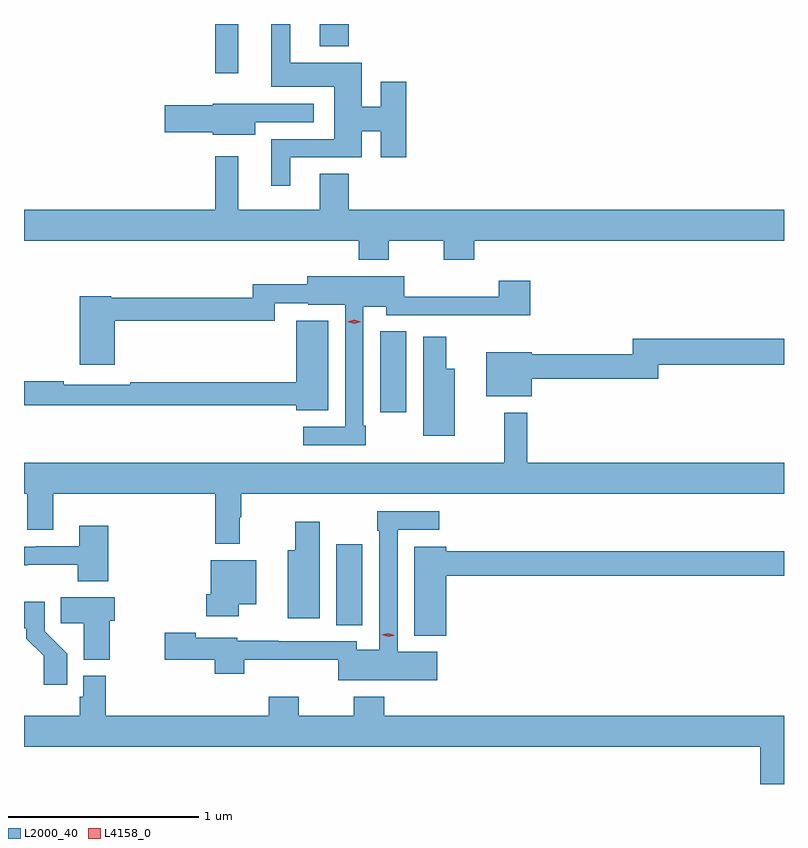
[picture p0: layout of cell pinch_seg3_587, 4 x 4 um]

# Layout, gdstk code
import gdstk
lib = gdstk.Library(unit=1e-6, precision=1e-09)
def R(c, l, rs):  # rectangles x0, y0, x1, y1
    for r in rs: c.add(gdstk.rectangle(r[:2], r[2:], *l))
def P(c, l, *ps):  # polygons
    for p in ps: c.add(gdstk.Polygon(p, *l))
L2000_40 = (2000, 40)
L4158_0 = (4158, 0)

pinch_seg3_587 = lib.new_cell('pinch_seg3_587')
R(pinch_seg3_587, L2000_40, [(1068.002,705.553,1068.139,705.979), (1068.233,706.674,1068.37,707.099), (1067.364,708.459,1067.485,708.717), (1067.915,708.599,1068.068,708.717)])
P(pinch_seg3_587, L2000_40, [(1067.758,708.015),(1068.136,708.015),(1068.136,708.153),(1068.236,708.153),(1068.236,708.015),(1068.371,708.015),(1068.371,708.412),(1068.236,708.412),(1068.236,708.281),(1068.136,708.281),(1068.136,708.514),(1067.758,708.514),(1067.758,708.717),(1067.66,708.717),(1067.66,708.386),(1067.99,708.386),(1067.99,708.111),(1067.66,708.111),(1067.66,707.865),(1067.758,707.865)],
  [(1067.575,708.201),(1067.884,708.201),(1067.884,708.297),(1067.571,708.297),(1067.571,708.298),(1067.352,708.298),(1067.352,708.29),(1067.1,708.29),(1067.1,708.148),(1067.352,708.148),(1067.352,708.134),(1067.575,708.134)],
  [(1068.279,707.576),(1068.568,707.576),(1068.568,707.477),(1068.728,707.477),(1068.728,707.576),(1070.358,707.576),(1070.358,707.74),(1068.068,707.74),(1068.068,707.93),(1067.915,707.93),(1067.915,707.74),(1067.485,707.74),(1067.485,708.022),(1067.364,708.022),(1067.364,707.74),(1066.358,707.74),(1066.358,707.576),(1068.119,707.576),(1068.119,707.477),(1068.279,707.477)],
  [(1068.157,706.603),(1068.144,706.603),(1068.144,707.228),(1068.264,707.228),(1068.264,707.184),(1068.773,707.184),(1068.773,707.183),(1069.022,707.183),(1069.022,707.365),(1068.857,707.365),(1068.857,707.282),(1068.36,707.282),(1068.36,707.389),(1067.849,707.389),(1067.849,707.346),(1067.563,707.346),(1067.563,707.275),(1066.818,707.275),(1066.818,707.283),(1066.652,707.283),(1066.652,706.923),(1066.835,706.923),(1066.835,707.154),(1067.679,707.154),(1067.679,707.247),(1067.853,707.247),(1067.853,707.24),(1068.048,707.24),(1068.048,706.596),(1067.829,706.596),(1067.829,706.5),(1068.157,706.5)],
  [(1067.959,707.155),(1067.792,707.155),(1067.792,706.831),(1066.918,706.831),(1066.918,706.818),(1066.568,706.818),(1066.568,706.838),(1066.358,706.838),(1066.358,706.71),(1067.792,706.71),(1067.792,706.685),(1067.959,706.685)],
  [(1068.625,706.903),(1068.58,706.903),(1068.58,707.071),(1068.458,707.071),(1068.458,706.551),(1068.625,706.551)],
  [(1069.03,706.851),(1069.697,706.851),(1069.697,706.924),(1070.358,706.924),(1070.358,707.06),(1069.561,707.06),(1069.561,706.979),(1069.03,706.979),(1069.03,706.99),(1068.791,706.99),(1068.791,706.757),(1069.03,706.757)],
  [(1067.494,706.121),(1067.501,706.121),(1067.501,706.244),(1070.358,706.244),(1070.358,706.408),(1069.007,706.408),(1069.007,706.672),(1068.886,706.672),(1068.886,706.408),(1066.358,706.408),(1066.358,706.244),(1066.374,706.244),(1066.374,706.054),(1066.513,706.054),(1066.513,706.244),(1067.365,706.244),(1067.365,705.981),(1067.494,705.981)],
  [(1068.532,705.412),(1068.324,705.412),(1068.324,706.056),(1068.544,706.056),(1068.544,706.152),(1068.216,706.152),(1068.216,706.049),(1068.228,706.049),(1068.228,705.424),(1068.108,705.424),(1068.108,705.468),(1067.696,705.468),(1067.696,705.47),(1067.481,705.47),(1067.481,705.486),(1067.262,705.486),(1067.262,705.514),(1067.1,705.514),(1067.1,705.37),(1067.363,705.37),(1067.363,705.296),(1067.516,705.296),(1067.516,705.371),(1068.012,705.371),(1068.012,705.263),(1068.532,705.263)],
  [(1067.914,706.096),(1067.785,706.096),(1067.785,705.946),(1067.747,705.946),(1067.747,705.59),(1067.914,705.59)],
  [(1066.802,706.075),(1066.649,706.075),(1066.649,705.969),(1066.42,705.969),(1066.42,705.966),(1066.358,705.966),(1066.358,705.869),(1066.378,705.869),(1066.378,705.87),(1066.642,705.87),(1066.642,705.785),(1066.802,705.785)],
  [(1068.58,705.814),(1070.358,705.814),(1070.358,705.943),(1068.58,705.943),(1068.58,705.967),(1068.413,705.967),(1068.413,705.497),(1068.58,705.497)],
  [(1067.488,705.662),(1067.581,705.662),(1067.581,705.895),(1067.342,705.895),(1067.342,705.717),(1067.318,705.717),(1067.318,705.599),(1067.488,705.599)],
  [(1066.81,705.576),(1066.835,705.576),(1066.835,705.7),(1066.552,705.7),(1066.552,705.562),(1066.673,705.562),(1066.673,705.371),(1066.81,705.371)],
  [(1066.586,705.402),(1066.467,705.521),(1066.467,705.676),(1066.358,705.676),(1066.358,705.536),(1066.37,705.536),(1066.37,705.481),(1066.461,705.391),(1066.461,705.24),(1066.586,705.24)],
  [(1070.358,705.076),(1068.254,705.076),(1068.254,705.175),(1068.094,705.175),(1068.094,705.076),(1067.805,705.076),(1067.805,705.175),(1067.645,705.175),(1067.645,705.076),(1066.787,705.076),(1066.787,705.286),(1066.671,705.286),(1066.671,705.177),(1066.651,705.177),(1066.651,705.076),(1066.358,705.076),(1066.358,704.912),(1070.234,704.912),(1070.234,704.717),(1070.358,704.717)])
P(pinch_seg3_587, L4158_0, [(1068.275,705.491),(1068.24,705.502),(1068.24,705.502),(1068.24,705.503),(1068.275,705.511),(1068.31,705.5),(1068.31,705.5),(1068.31,705.5)],
  [(1068.096,707.14),(1068.062,707.15),(1068.062,707.15),(1068.062,707.151),(1068.096,707.16),(1068.131,707.151),(1068.131,707.15),(1068.131,707.15)])

lib.write_gds('pinch_seg3_587.gds')
